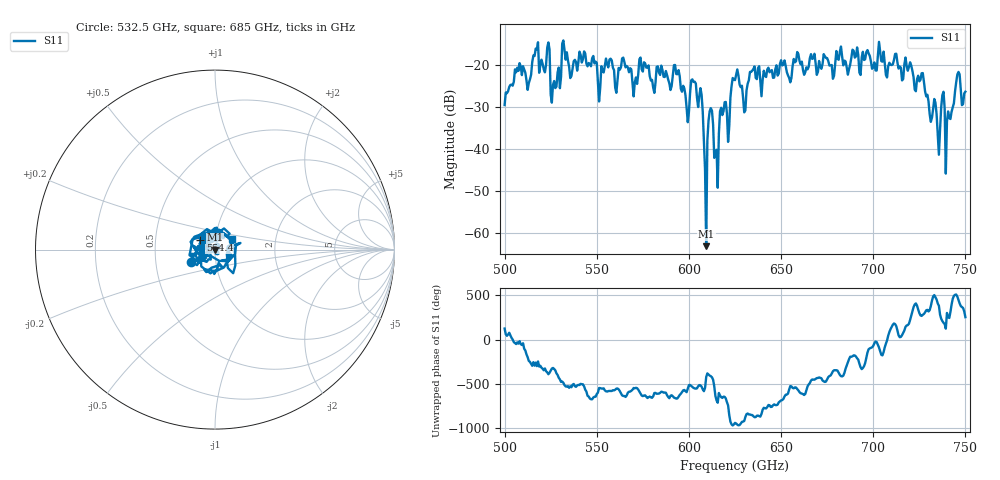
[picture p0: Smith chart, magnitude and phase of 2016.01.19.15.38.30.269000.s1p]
!Created with skrf (http://scikit-rf.org).
# GHz S RI R 50.0
!freq ReS11 ImS11
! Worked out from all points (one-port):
!   401 points, 500 GHz to 750 GHz, reference 50 ohm
!   lowest |S11| = -63.2 dB at 609.4 GHz (marker M1), VSWR 1.00, Z = 50 - j0.0612 ohm
!   |S11| at or under -10 dB: start of sweep to end of sweep
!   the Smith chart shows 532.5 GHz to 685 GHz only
!   S11 on the Smith chart (normalised r, x): 532.5 GHz: 0.75, -0.10; 554.4 GHz: 0.84, +0.09; 685 GHz: 1.20, +0.14
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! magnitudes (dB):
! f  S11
! 500 GHz  -29.6
! 516.9 GHz  -16.1
! 523.1 GHz  -15.9
! 526.2 GHz  -24.7
! 531.2 GHz  -14.9
! 532.5 GHz  -16.4
! 554.4 GHz  -20.2
! 562.5 GHz  -21.1
! 593.8 GHz  -22.2
! 598.8 GHz  -30.3
! 606.2 GHz  -25.5
! 609.4 GHz  -63.2
! 611.2 GHz  -31.1
! 615 GHz  -40.2
! 618.1 GHz  -32.0
! 621.2 GHz  -38.4
! 625 GHz  -23.6
! 630 GHz  -31.3
! 634.4 GHz  -21.3
! 656.2 GHz  -20.3
! 685 GHz  -19.1
! 687.5 GHz  -19.9
! 718.8 GHz  -21.4
! 735.6 GHz  -41.4
! 737.5 GHz  -27.2
! 740.6 GHz  -31.1
! 745.6 GHz  -22.3
! 750 GHz  -26.4
